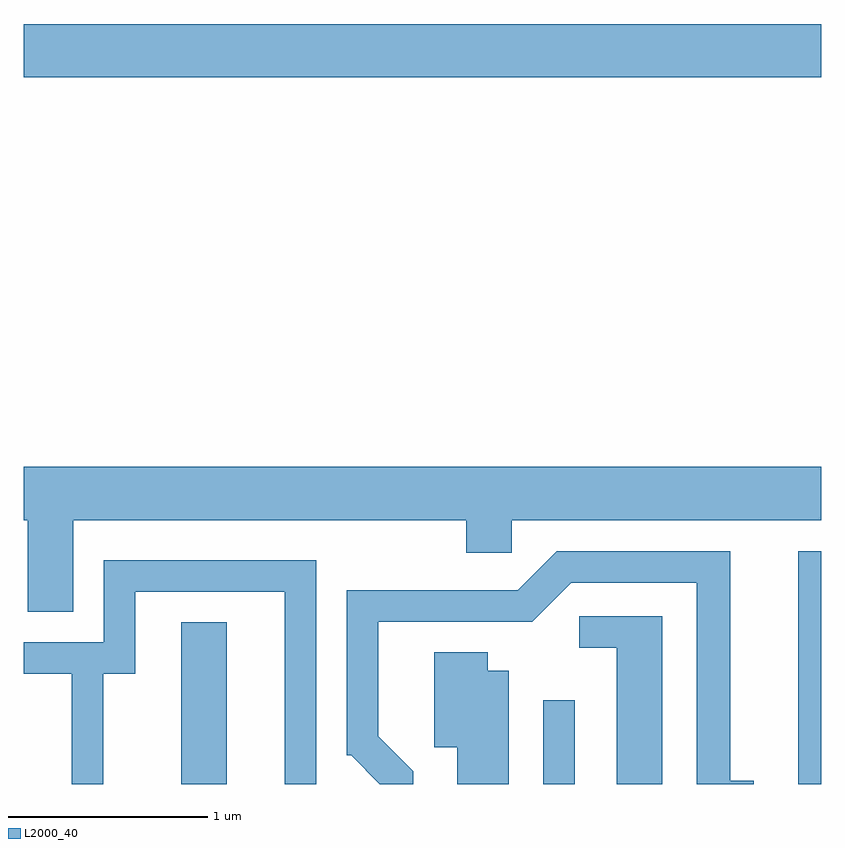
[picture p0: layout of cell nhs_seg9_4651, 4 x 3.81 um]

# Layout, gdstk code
import gdstk
lib = gdstk.Library(unit=1e-6, precision=1e-09)
def R(c, l, rs):  # rectangles x0, y0, x1, y1
    for r in rs: c.add(gdstk.rectangle(r[:2], r[2:], *l))
def P(c, l, *ps):  # polygons
    for p in ps: c.add(gdstk.Polygon(p, *l))
L2000_40 = (2000, 40)

nhs_seg9_4651 = lib.new_cell('nhs_seg9_4651')
R(nhs_seg9_4651, L2000_40, [(322.401,2050.432,322.629,2051.244), (324.216,2050.432,324.374,2050.853), (325.496,2050.432,325.611,2051.599), (321.611,2053.976,325.611,2054.244)])
P(nhs_seg9_4651, L2000_40, [(321.859,2051.756),(323.831,2051.756),(323.831,2051.591),(324.059,2051.591),(324.059,2051.756),(325.611,2051.756),(325.611,2052.024),(321.611,2052.024),(321.611,2051.756),(321.631,2051.756),(321.631,2051.296),(321.859,2051.296)],
  [(323.564,2050.497),(323.389,2050.672),(323.389,2051.246),(324.162,2051.246),(324.357,2051.441),(324.986,2051.441),(324.986,2050.432),(325.273,2050.432),(325.273,2050.449),(325.154,2050.449),(325.154,2051.599),(324.284,2051.599),(324.089,2051.404),(323.231,2051.404),(323.231,2050.576),(323.254,2050.576),(323.397,2050.432),(323.564,2050.432)],
  [(322.009,2050.986),(322.169,2050.986),(322.169,2051.396),(322.921,2051.396),(322.921,2050.432),(323.079,2050.432),(323.079,2051.554),(322.011,2051.554),(322.011,2051.144),(321.611,2051.144),(321.611,2050.986),(321.851,2050.986),(321.851,2050.432),(322.009,2050.432)],
  [(324.814,2051.274),(324.398,2051.274),(324.398,2051.116),(324.586,2051.116),(324.586,2050.432),(324.814,2050.432)],
  [(324.044,2050.999),(323.939,2050.999),(323.939,2051.094),(323.671,2051.094),(323.671,2050.616),(323.786,2050.616),(323.786,2050.432),(324.044,2050.432)])

lib.write_gds('nhs_seg9_4651.gds')
